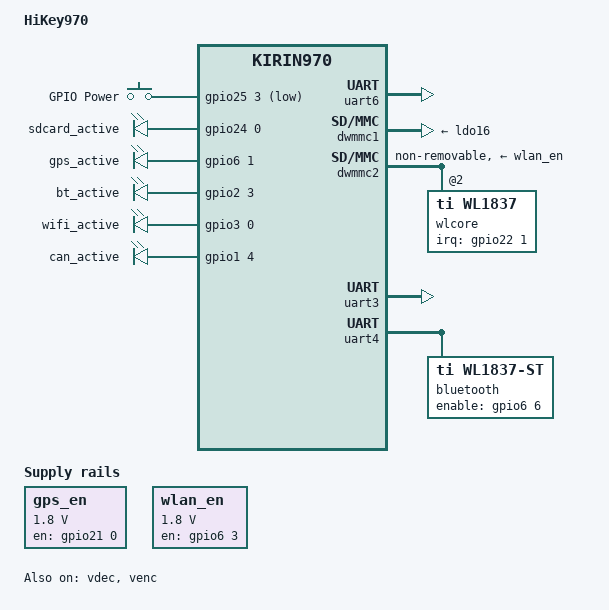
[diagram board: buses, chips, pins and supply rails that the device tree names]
// SPDX-License-Identifier: GPL-2.0
/*
 * dts file for Hisilicon HiKey970 Development Board
 *
 * Copyright (C) 2016, Hisilicon Ltd.
 *
 */

/dts-v1/;

#include "kirin970.dtsi"
#include <dt-bindings/gpio/gpio.h>
#include <dt-bindings/input/input.h>
#include "kirin970_spmi.dtsi"
#include "hisi_6421v600_pmic_spmi.dtsi"
#include "kirin970_powerip.dtsi"
#include "hisi_power_ip_test.dtsi"
#include "kirin970-gpu.dtsi"
#include "kirin970-ion.dtsi"
#include "kirin970_ipc.dtsi"
#include "kirin970-coresight.dtsi"
#include "kirin970-drm.dtsi"
#include "kirin970_ics_cs.dtsi"

/ {
	model = "HiKey970";
	compatible = "Hisilicon,kirin970-hikey970", "Hisilicon,kirin970";

	aliases {
		mshc1 = &dwmmc1;
		mshc2 = &dwmmc2;
		serial0 = &uart0; /* UDP console UART */
		serial1 = &uart1;
		serial2 = &uart2;
		serial3 = &uart3;
		serial4 = &uart4;
		serial5 = &uart5;
		serial6 = &uart6;
	};

	chosen {
		stdout-path = "serial6:115200n8";
	};

	memory@0 {
		device_type = "memory";
		/* rewrite this at bootloader */
		reg = <0x0 0x0 0x0 0x0>;
	};

	reserved-memory {
		#address-cells = <2>;
		#size-cells = <2>;
		ranges;

		bl31 {
			reg = <0x0 0x1FE00000 0x0 0x400000>;
			no-map;
		};

		ramoops_ram:pstore-mem{
			compatible = "ramoops";
			reg = <0x0 0x20A00000 0x0 0x100000>;
			record-size	= <0x00020000>;
			console-size	= <0x00020000>;
			ftrace-size	= <0x0>;
			dump-oops = <0x1>;
			ecc-size = <0x0>;
		};

		uefi-reboot-mode {
			reg = <0x0 0x32100000 0x0 0x00001000>;
			no-map;
		};

		drm_dma_reserved: drm_dma_mem_region {
			compatible = "shared-dma-pool";
			reg = <0 0x32200000 0 0x8000000>;
			alignment = <0x400000>;
			no-map;
		};

		hifi-base {
			reg = <0x0 0x8D500000 0x0 0xC00000>;
			no-map;
		};

		lpmx-core {
			reg = <0x0 0x8E100000 0x0 0x100000>;
			no-map;
		};

		lpmcu {
			reg = <0x0 0x8E200000 0x0 0x40000>;
			no-map;
		};

		hifi-data {
			reg = <0x0 0x8E300000 0x0 0x500000>;
			no-map;
		};
	};

	reboot-mode-syscon@32100000 {
		compatible = "syscon", "simple-mfd";
		reg = <0x0 0x32100000 0x0 0x00001000>;

		reboot-mode {
			compatible = "syscon-reboot-mode";
			offset = <0x0>;

			mode-normal	= <0x77665501>;
			mode-bootloader	= <0x77665500>;
			mode-recovery	= <0x77665502>;
		};
	};
	pclk: apb_pclk {
			compatible = "fixed-clock";
			#clock-cells = <0>;
			clock-frequency = <20000000>;
			clock-output-names = "apb_pclk";
	};

	keys: gpio-keys {
		compatible = "gpio-keys";
		pinctrl-names = "default";
		pinctrl-0 = <&pwr_key_pmx_func &pwr_key_cfg_func>;

		power {
			wakeup-source;
			gpios = <&gpio25 3 GPIO_ACTIVE_LOW>;
			label = "GPIO Power";
			linux,code = <KEY_POWER>;
		};
	};

	soc {
		uart6: serial@fff32000 {
			status = "okay";
		};
	};

		hifidsp {
				compatible = "hisilicon,k3hifidsp";
		};

	leds {
		compatible = "gpio-leds";

		sdcard_active_led {
			label = "sdcard_active";
			/* gpio_192_user_led2 */
			gpios = <&gpio24 0 0>;
			linux,default-trigger = "mmc0";
		};

		gps_active_led {
			label = "gps_active";
			/* gpio_049_user_led6 */
			gpios = <&gpio6 1 0>;
			default-state = "off";
		};

		bt_active_led {
			label = "bt_active";
			/* gpio_019_bt_active */
			gpios = <&gpio2 3 0>;
			linux,default-trigger = "hci0rx";
			default-state = "off";
		};

		wlan_active_led {
			label = "wifi_active";
			/* gpio_024_wifi_active */
			gpios = <&gpio3 0 0>;
			linux,default-trigger = "phy0tx";
			default-state = "off";
		};

		can_active_led {
			label = "can_active";
			/* GPIO_012_USER_LED5*/
			gpios = <&gpio1 4 0>;
			linux,default-trigger = "can0-rxtx";
			default-state = "off";
		};
	};

	vdec {
		compatible = "hisi,kirin970-vdec";
		reg = <0x0 0xe8800000 0x0 0x40000>;
		interrupts = <0 290 4>, <0 291 4>, <0 292 4>;
		clocks = <&media2_crg KIRIN970_CLK_GATE_VDECFREQ>;
		clock-names = "clk_gate_vdecfreq";
		dec_clk_rate = <450000000>, <300000000>, <185000000>;
		vdec_fpga = <0x1>;
		status = "ok";
		iommu_info {
			start-addr = <0x40000>;
			size = <0xE0000000>;
		};
	};

	venc {
		compatible = "hisi,kirin970-venc";
		reg = <0x0 0xe8880000 0x0 0x40000>;
		interrupts = <0 296 4>, <0 297 4>, <0 298 4>;
		clocks = <&media2_crg KIRIN970_CLK_GATE_VENCFREQ>;
		clock-names = "clk_gate_vencfreq";
		enc_clk_rate = <554000000>, <450000000>, <238000000>;
		venc_fpga = <0x1>;
		status = "ok";
		iommu_info {
			start-addr = <0x40000>;
			size = <0xE0000000>;
		};
	};

	smmu_lpae{
		compatible = "hisi,hisi-smmu-lpae";
		status = "ok";
	};

	gps_en: gps-en-1-8v {
		compatible = "regulator-fixed";
		regulator-name = "gps-en-regulator";
		regulator-min-microvolt = <1800000>;
		regulator-max-microvolt = <1800000>;

		/* GPIO_168_GPS_EN */
		gpio = <&gpio21 0 0>;
		regulator-always-on;

		/* T-active: 15ms, NSTANDBY negated to device active */
		startup-delay-us = <15000>;
		enable-active-high;
	};

	wlan_en: wlan-en-1-8v {
		compatible = "regulator-fixed";
		regulator-name = "wlan-en-regulator";
		regulator-min-microvolt = <1800000>;
		regulator-max-microvolt = <1800000>;

		/* GPIO_051_WIFI_EN */
		gpio = <&gpio6 3 0>;
		/* regulator-always-on; */

		/* WLAN card specific delay */
		startup-delay-us = <70000>;
		enable-active-high;
	};

	/* bluetooth - TI WL1837 */
	kim {
		compatible = "kim";
		/*
		 * FIXME: The following is complete CRAP since
		 * the vendor driver doesn't follow the gpio
		 * binding. Passing in a magic Linux gpio number
		 * here until we fix the vendor driver.
		 */
		/* BT_EN: GPIO_054_BT_EN */
		nshutdown_gpio = <462>;
		dev_name = "/dev/ttyAMA4";
		flow_cntrl = <1>;
		baud_rate = <115200>;
		/* baud_rate = <3000000>; */
		/* baud_rate = <230400>; ok */
		/* baud_rate = <921600>; ok */
		/* baud_rate = <1500000>; nok */
	};

	btwilink {
		compatible = "btwilink";
	};
};

&dwmmc1 {
	vmmc-supply = <&ldo16>;
	vqmmc-supply = <&ldo9>;
	status = "okay";
};

&dwmmc2 { /* WIFI */
	broken-cd;
	/* WL_EN */
	vmmc-supply = <&wlan_en>;
	ti,non-removable;
	non-removable;
	#address-cells = <0x1>;
	#size-cells = <0x0>;
	status = "ok";

	wlcore: wlcore@2 {
		compatible = "ti,wl1837";
		reg = <2>;      /* sdio func num */
		/* WL_IRQ, GPIO_177_WL_WAKEUP_AP */
		interrupt-parent = <&gpio22>;
		interrupts = <1 IRQ_TYPE_EDGE_RISING>;
	};
};

&uart3 {
	/* GPS BCM47531 */
	status = "okay";
};

&uart4 {
	status = "okay";

	bluetooth {
		compatible = "ti,wl1837-st";
		enable-gpios = <&gpio6 6 GPIO_ACTIVE_HIGH>; /* gpio_054 */
		max-speed = <921600>;
	};
};
